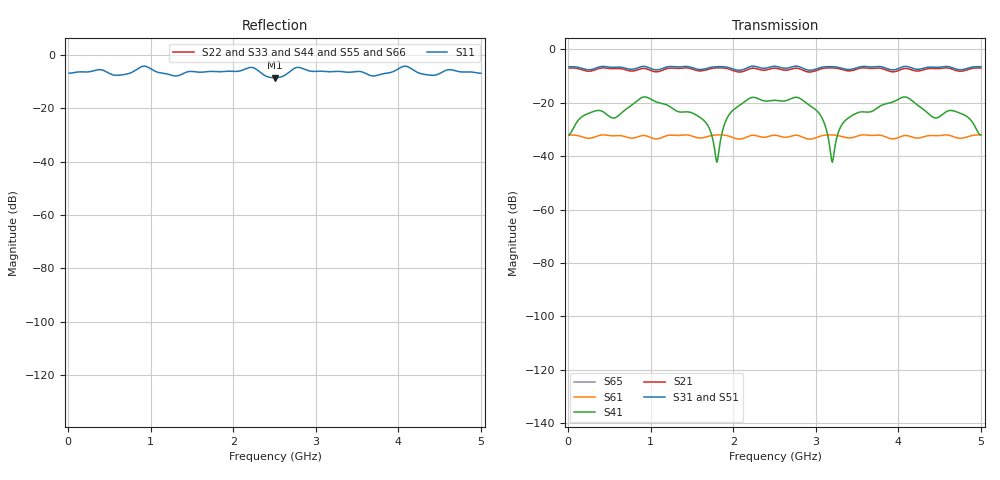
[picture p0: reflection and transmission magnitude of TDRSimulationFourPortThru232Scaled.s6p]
# MHz MA S R 50.0
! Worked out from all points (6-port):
!   500 points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, 10 MHz to 5 GHz, reference 50 ohm
!   strongest paths, dB at 10 MHz, 1.26 GHz, 2.51 GHz, 3.76 GHz, 5 GHz:
!     S31: -6.5, -6.4, -6.3, -6.4, -6.5
!     S51: -6.5, -6.5, -6.6, -6.5, -6.5
!     S21: -6.9, -7.0, -7.0, -7.0, -6.9
!     S41: -31.9, -22.0, -19.1, -21.6, -32.0
!     S61: -32.0, -32.1, -32.1, -32.1, -32.0
!     S65: -, -, -, -, -
!   lowest |S11| = -8.6 dB at 2.5 GHz (marker M1), VSWR 2.18, Z = 37.9 + j32.6 ohm
!   |S11| at or under -10 dB: nowhere
